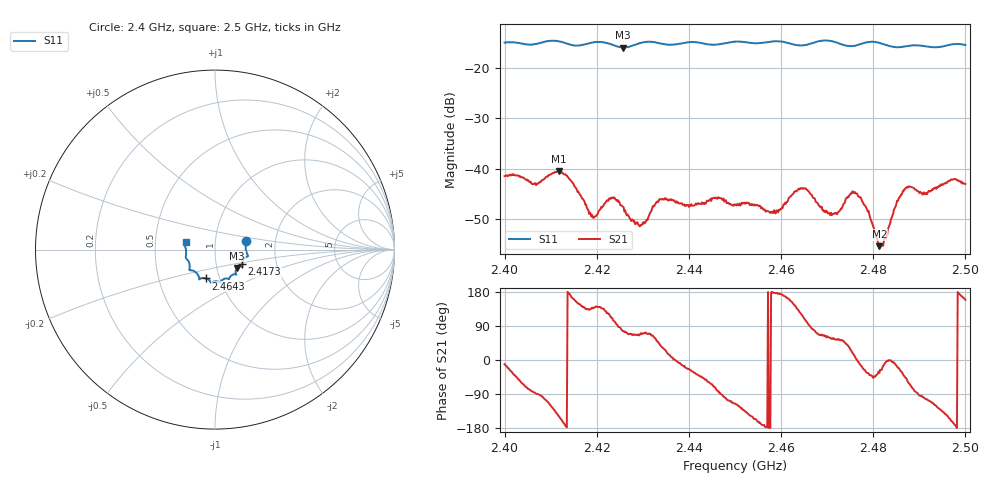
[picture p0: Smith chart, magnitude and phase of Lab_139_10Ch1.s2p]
# Hz S RI R 50
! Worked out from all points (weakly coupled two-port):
!   601 points, 2.4 GHz to 2.5 GHz, reference 50 ohm
!   highest |S21| = -40.51 dB at 2.4118 GHz (marker M1); lowest = -55.4 dB at 2.4813 GHz (marker M2)
!   lowest |S11| = -15.9 dB at 2.4257 GHz (marker M3), VSWR 1.38, Z = 62.5 - j13.1 ohm
!   |S11| at or under -10 dB: start of sweep to end of sweep
!   S12 and S22 are empty: the file has one direction only
!   S11 on the Smith chart (normalised r, x): 2.4 GHz: 1.41, +0.14; 2.4173 GHz: 1.34, -0.22; 2.4643 GHz: 0.86, -0.28; 2.5 GHz: 0.72, +0.06
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2.4e9  0.1725 0.0493  0.0083 -0.00162  0 0  0 0
2.406667e9  0.1728 -0.00609  0.000311 -0.00721  0 0  0 0
2.411833e9  0.1808 -0.0379  -0.00809 -0.00484  0 0  0 0
2.416667e9  0.1522 -0.074  -0.00415 0.00323  0 0  0 0
2.417333e9  0.1514 -0.0815  -0.00357 0.00312  0 0  0 0
2.419333e9  0.1529 -0.0955  -0.00238 0.00221  0 0  0 0
2.423167e9  0.1448 -0.0937  -0.0019 0.0048  0 0  0 0
2.425667e9  0.1233 -0.1024  0.000977 0.00409  0 0  0 0
2.429667e9  0.1168 -0.1352  0.000891 0.0026  0 0  0 0
2.433333e9  0.1126 -0.1374  0.00325 0.00337  0 0  0 0
2.45e9  0.0291 -0.1811  -0.00187 -0.00401  0 0  0 0
2.458833e9  -0.0221 -0.1837  -0.0036 0.000231  0 0  0 0
2.464333e9  -0.0496 -0.1604  -0.0034 0.00548  0 0  0 0
2.466667e9  -0.0756 -0.1593  0.000748 0.00544  0 0  0 0
2.471e9  -0.0875 -0.1633  0.00188 0.0029  0 0  0 0
2.476e9  -0.1165 -0.1195  0.0058 0.001  0 0  0 0
2.478667e9  -0.1397 -0.1149  0.00326 -0.00221  0 0  0 0
2.481333e9  -0.1423 -0.107  0.00141 -0.000954  0 0  0 0
2.483333e9  -0.1407 -0.0897  0.00261 -1.33e-05  0 0  0 0
2.487333e9  -0.1569 -0.0537  0.00402 -0.00523  0 0  0 0
2.491167e9  -0.1618 -0.0332  -0.0011 -0.00547  0 0  0 0
2.5e9  -0.1643 0.0429  -0.00659 0.00256  0 0  0 0
